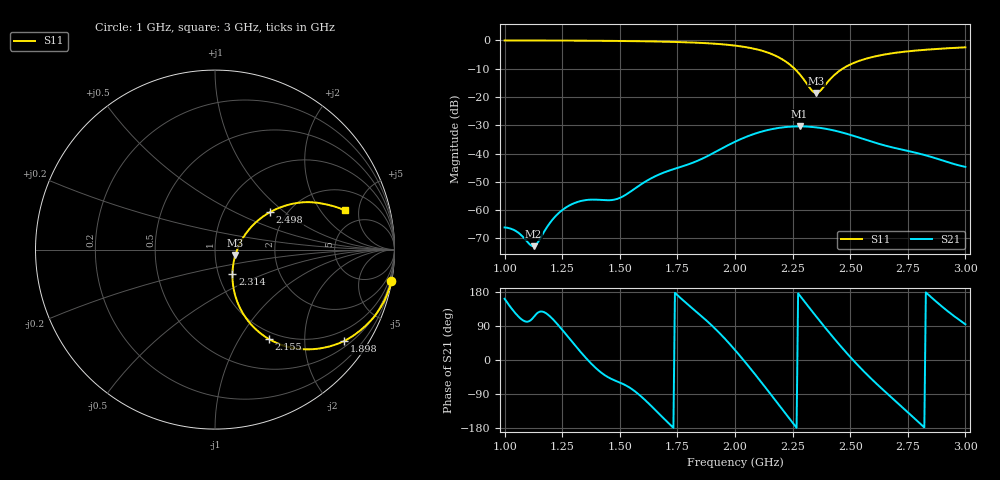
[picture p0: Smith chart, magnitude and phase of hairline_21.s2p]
! TOUCHSTONE file generated by CST MICROWAVE STUDIO
! Date and time: Tue Mar 18 20:31:44 2025
! Project name: hairline.cst
! Parameters = {B=12.5; D=160; F=25; Feed=2.85625; Fracture=2; L=100; M=30; R=0.384908; S=1.5; Theta=90; length=57.125; wave=114.25}
! Header version: 2024
! Port assignment regex: !\s*Touchstone port\s*([0-9]+)\s*=\s*(CST MWS port|CST DES external port|CST DES block port)\s*(.+)\s* \(\"(.*)\"\)(\s*mode\s*([0-9]+))?.*
! Touchstone port assignment:
! Touchstone port 1 = CST MWS port 1 ("")
! Touchstone port 2 = CST MWS port 2 ("")
# GHz S DB R 50
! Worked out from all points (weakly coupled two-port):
!   304 points, 1 GHz to 3 GHz, reference 50 ohm
!   highest |S21| = -30.38 dB at 2.281 GHz (marker M1); lowest = -72.7 dB at 1.125 GHz (marker M2)
!   lowest |S11| = -18.6 dB at 2.353 GHz (marker M3), VSWR 1.27, Z = 62.7 - j3.86 ohm
!   |S11| at or under -10 dB: 2.258 GHz to 2.467 GHz (209 MHz wide, 8.85 % of centre)
!   S12 and S22 are empty: the file has one direction only
!   S11 on the Smith chart (normalised r, x): 1 GHz: 0, -11; 1.898 GHz: 0.66, -3.02; 2.155 GHz: 0.90, -1.35; 2.314 GHz: 1.17, -0.33; 2.498 GHz: 1.65, +0.80; 3 GHz: 3.45, +3.49
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1  -0.02 -10.0  -66.11 161.5  -200.00 0.0  -200.00 0.0
1.05281  -0.03 -10.7  -67.57 119.3  -200.00 0.0  -200.00 0.0
1.12541  -0.03 -11.8  -72.72 112.7  -200.00 0.0  -200.00 0.0
1.13861  -0.04 -12.0  -72.00 122.0  -200.00 0.0  -200.00 0.0
1.19142  -0.05 -12.9  -65.08 118.1  -200.00 0.0  -200.00 0.0
1.23102  -0.06 -13.6  -61.31 93.3  -200.00 0.0  -200.00 0.0
1.28383  -0.08 -14.5  -58.21 54.8  -200.00 0.0  -200.00 0.0
1.33663  -0.10 -15.5  -56.66 16.5  -200.00 0.0  -200.00 0.0
1.48845  -0.19 -19.0  -56.02 -56.6  -200.00 0.0  -200.00 0.0
1.66667  -0.40 -24.3  -47.53 -139.6  -200.00 0.0  -200.00 0.0
1.89769  -1.09 -35.2  -40.16 92.1  -200.00 0.0  -200.00 0.0
2.0033  -1.87 -43.0  -35.69 24.1  -200.00 0.0  -200.00 0.0
2.15512  -4.69 -58.9  -31.44 -90.5  -200.00 0.0  -200.00 0.0
2.22112  -7.53 -65.6  -30.61 -142.6  -200.00 0.0  -200.00 0.0
2.28053  -11.94 -65.2  -30.38 170.6  -200.00 0.0  -200.00 0.0
2.31353  -15.50 -54.6  -30.46 144.9  -200.00 0.0  -200.00 0.0
2.33993  -18.18 -31.6  -30.63 124.5  -200.00 0.0  -200.00 0.0
2.35314  -18.60 -15.0  -30.74 114.3  -200.00 0.0  -200.00 0.0
2.43894  -11.68 33.3  -32.01 50.5  -200.00 0.0  -200.00 0.0
2.49835  -8.59 34.2  -33.33 9.1  -200.00 0.0  -200.00 0.0
2.66997  -4.70 27.0  -37.55 -93.8  -200.00 0.0  -200.00 0.0
3  -2.45 16.8  -44.69 94.3  -200.00 0.0  -200.00 0.0
